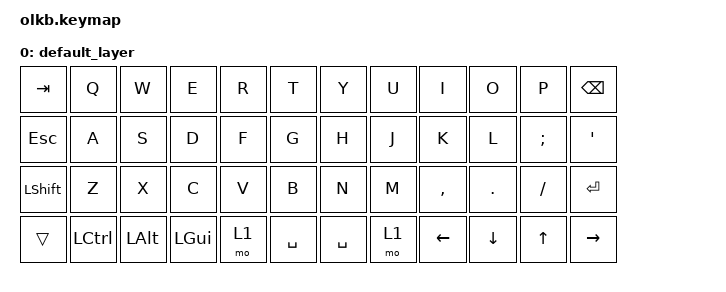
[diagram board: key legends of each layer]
#include <behaviors.dtsi>
#include <dt-bindings/zmk/keys.h>
#include <dt-bindings/zmk/bt.h>
#include <dt-bindings/zmk/outputs.h>

/ {
    keymap {
        compatible = "zmk,keymap";

        default_layer {
            // -----------------------------------------------------------------------------------------
            // |  TAB  |  Q   |  W   |  E   |  R   |  T   |   Y   |  U    |  I   |  O   |   P   | BSPC  |
            // |  ESC  |  A   |  S   |  D   |  F   |  G   |   H   |  J    |  K   |  L   |   ;   |  '    |
            // | SHIFT |  Z   |  X   |  C   |  V   |  B   |   N   |  M    |  ,   |  .   |   /   |  RET  |
            // |       | LCTL | LALT | LGUI | LOWR |     SPACE    |  RAIS | LARW | DARW | UARW  |  RARW |

            bindings = <
                &kp TAB     &kp Q      &kp W     &kp E     &kp R    &kp T       &kp Y      &kp U    &kp I      &kp O     &kp P      &kp BSPC
                &kp ESC     &kp A      &kp S     &kp D     &kp F    &kp G       &kp H      &kp J    &kp K      &kp L     &kp SEMI   &kp SQT
                &kp LSHFT   &kp Z      &kp X     &kp C     &kp V    &kp B       &kp N      &kp M    &kp COMMA  &kp DOT   &kp SLASH  &kp RET
                &trans      &kp LCTRL  &kp LALT  &kp LGUI  &mo 1    &kp SPACE   &kp SPACE  &mo 1    &kp LEFT   &kp DOWN  &kp UP     &kp RIGHT
            >;
        };
//
//        lower {
//            bindings = <
//                &sys_reset    &bootloader     &trans    &trans    &trans    &trans    &trans    &trans    &trans    &trans    &trans    &trans
//                &out OUT_USB  &out OUT_BLE    &trans    &trans    &trans    &trans    &trans    &trans    &trans    &trans    &trans    &trans
//                &trans        &trans          &trans    &trans    &trans    &trans    &trans    &trans    &trans    &trans    &trans    &trans
//                &trans        &trans          &trans    &trans    &trans    &trans    &trans    &trans    &trans    &trans    &trans    &trans
//            >;
//        };
//
//        raise {
//            bindings = <
//                &kp GRAVE   &kp N1       &kp N2  &kp N3  &kp N4   &kp N5   &kp N6   &kp N7     &kp N8      &kp N9        &kp N0        &kp BSPC
//                &kp DEL     &kp F1       &kp F2  &kp F3  &kp F4   &kp F5   &kp F6   &kp MINUS  &kp EQUAL   &kp LBKT      &kp RBKT      &kp BSLH
//                &trans      &kp F7       &kp F8  &kp F9  &kp F10  &kp F11  &kp F12  &kp HASH   &kp BSLH    &kp PG_UP     &kp PG_DN     &trans
//                &sys_reset  &bootloader  &trans  &trans  &trans   &trans   &trans   &trans     &kp C_NEXT  &kp C_VOL_DN  &kp C_VOL_UP  &kp C_PP
//            >;
//        };
    };
};
